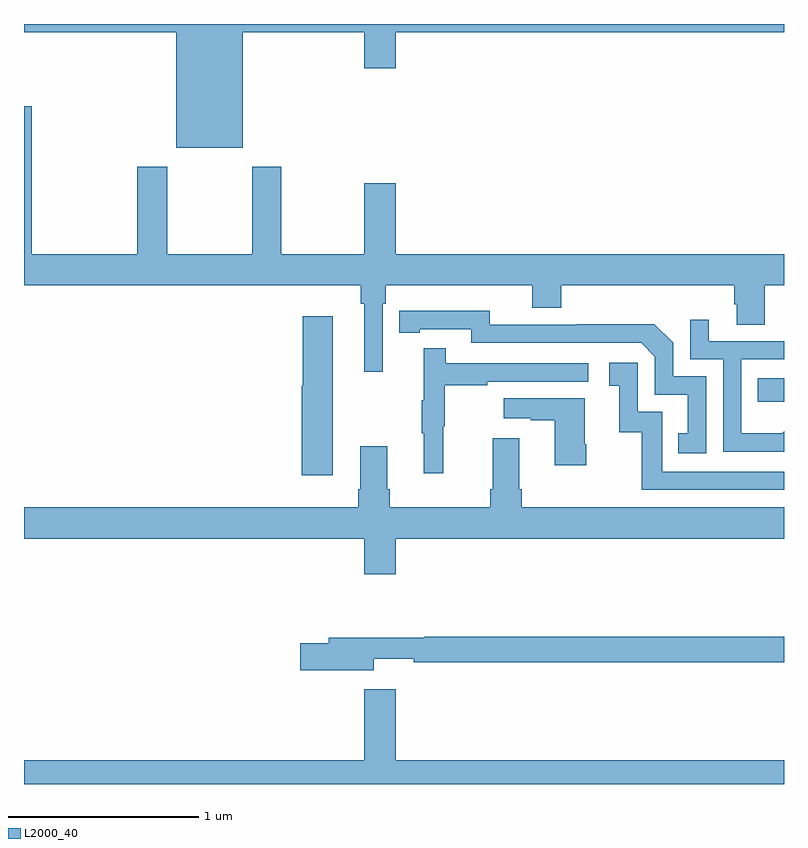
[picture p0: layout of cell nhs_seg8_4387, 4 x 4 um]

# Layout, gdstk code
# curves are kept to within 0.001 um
import gdstk
lib = gdstk.Library(unit=1e-6, precision=1e-09)
def R(c, l, rs):  # rectangles x0, y0, x1, y1
    for r in rs: c.add(gdstk.rectangle(r[:2], r[2:], *l))
def P(c, l, *ps):  # polygons
    for p in ps: c.add(gdstk.Polygon(p, *l))
L2000_40 = (2000, 40)

nhs_seg8_4387 = lib.new_cell('nhs_seg8_4387')
R(nhs_seg8_4387, L2000_40, [(382.861,1091.913,383,1092.036)])
P(nhs_seg8_4387, L2000_40, [(380.956,1093.856),(383,1093.856),(383,1093.9),(379,1093.9),(379,1093.856),(379.802,1093.856),(379.802,1093.25),(380.152,1093.25),(380.152,1093.856),(380.792,1093.856),(380.792,1093.668),(380.956,1093.668)],
  [(380.889,1092.428),(380.903,1092.428),(380.903,1092.524),(381.674,1092.524),(381.674,1092.407),(381.827,1092.407),(381.827,1092.524),(382.739,1092.524),(382.739,1092.426),(382.751,1092.426),(382.751,1092.316),(382.899,1092.316),(382.899,1092.524),(383,1092.524),(383,1092.688),(380.956,1092.688),(380.956,1093.063),(380.792,1093.063),(380.792,1092.688),(380.355,1092.688),(380.355,1093.15),(380.2,1093.15),(380.2,1092.688),(379.755,1092.688),(379.755,1093.15),(379.595,1093.15),(379.595,1092.688),(379.04,1092.688),(379.04,1093.468),(379,1093.468),(379,1092.524),(380.773,1092.524),(380.773,1092.428),(380.792,1092.428),(380.792,1092.069),(380.889,1092.069)],
  [(382.59,1092.045),(382.416,1092.045),(382.416,1092.222),(382.318,1092.32),(381.91,1092.32),(381.91,1092.318),(381.45,1092.318),(381.45,1092.391),(380.974,1092.39),(380.974,1092.274),(381.082,1092.274),(381.082,1092.294),(381.354,1092.294),(381.354,1092.222),(382.248,1092.222),(382.32,1092.15),(382.32,1091.949),(382.493,1091.949),(382.493,1091.745),(382.444,1091.745),(382.444,1091.64),(382.59,1091.64)],
  [(380.626,1092.361),(380.468,1092.361),(380.468,1091.997),(380.462,1091.997),(380.462,1091.526),(380.626,1091.526)],
  [(383,1091.756),(382.99,1091.746),(382.776,1091.746),(382.776,1092.135),(383,1092.135),(383,1092.231),(382.603,1092.231),(382.603,1092.343),(382.506,1092.343),(382.506,1092.135),(382.68,1092.135),(382.68,1091.649),(383,1091.649)],
  [(381.206,1091.784),(381.214,1091.784),(381.214,1091.998),(381.437,1091.998),(381.437,1092.018),(381.97,1092.018),(381.97,1092.114),(381.221,1092.114),(381.221,1092.193),(381.104,1092.193),(381.104,1091.921),(381.093,1091.921),(381.093,1091.747),(381.104,1091.747),(381.104,1091.535),(381.206,1091.535)],
  [(383,1091.544),(382.359,1091.544),(382.359,1091.859),(382.23,1091.859),(382.23,1092.118),(382.08,1092.118),(382.08,1091.997),(382.133,1091.997),(382.133,1091.751),(382.251,1091.751),(382.251,1091.448),(383,1091.448)],
  [(381.96,1091.689),(381.952,1091.689),(381.952,1091.929),(381.525,1091.929),(381.525,1091.825),(381.668,1091.825),(381.668,1091.815),(381.794,1091.815),(381.794,1091.577),(381.96,1091.577)],
  [(380.956,1091.192),(383,1091.192),(383,1091.356),(381.62,1091.356),(381.62,1091.452),(381.607,1091.452),(381.607,1091.719),(381.467,1091.719),(381.467,1091.452),(381.455,1091.452),(381.455,1091.356),(380.924,1091.356),(380.924,1091.452),(380.911,1091.452),(380.911,1091.677),(380.771,1091.677),(380.771,1091.452),(380.759,1091.452),(380.759,1091.356),(379,1091.356),(379,1091.192),(380.792,1091.192),(380.792,1091.004),(380.956,1091.004)],
  [(380.842,1090.559),(381.052,1090.559),(381.052,1090.54),(383,1090.54),(383,1090.676),(381.107,1090.676),(381.107,1090.669),(380.603,1090.669),(380.603,1090.64),(380.454,1090.64),(380.454,1090.498),(380.842,1090.498)],
  [(383,1090.024),(380.956,1090.024),(380.956,1090.399),(380.792,1090.399),(380.792,1090.024),(379,1090.024),(379,1089.9),(383,1089.9)])

lib.write_gds('nhs_seg8_4387.gds')
